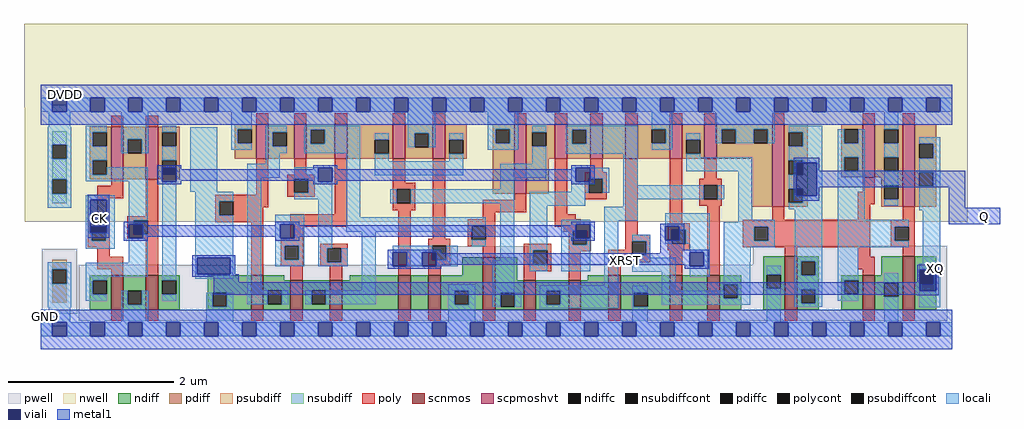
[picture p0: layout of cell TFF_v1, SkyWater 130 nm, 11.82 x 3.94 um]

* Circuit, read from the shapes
.subckt TFF_v1 Q CK XQ DVDD GND XRST
XM1 GND CK n1 GND sky130_fd_pr__nfet_01v8 w=0.42 l=0.15
XM2 n2 n1 GND GND sky130_fd_pr__nfet_01v8 w=0.42 l=0.15
XM3 n3 XQ GND GND sky130_fd_pr__nfet_01v8 w=0.42 l=0.15
XM4 n4 n1 n3 GND sky130_fd_pr__nfet_01v8 w=0.36 l=0.15
XM5 n5 n2 n4 GND sky130_fd_pr__nfet_01v8 w=0.36 l=0.15
XM6 n6 n7 n5 GND sky130_fd_pr__nfet_01v8 w=0.42 l=0.15
XM7 GND XRST n6 GND sky130_fd_pr__nfet_01v8 w=0.42 l=0.15
XM8 n7 n4 GND GND sky130_fd_pr__nfet_01v8 w=0.64 l=0.15
XM9 n8 n2 n7 GND sky130_fd_pr__nfet_01v8 w=0.36 l=0.15
XM10 n9 n1 n8 GND sky130_fd_pr__nfet_01v8 w=0.36 l=0.15
XM11 GND n10 n9 GND sky130_fd_pr__nfet_01v8 w=0.42 l=0.15
XM12 n11 XRST GND GND sky130_fd_pr__nfet_01v8 w=0.42 l=0.15
XM13 n10 n8 n11 GND sky130_fd_pr__nfet_01v8 w=0.42 l=0.15
XM14 Q n10 GND GND sky130_fd_pr__nfet_01v8 w=0.65 l=0.15
XM15 GND n10 n12 GND sky130_fd_pr__nfet_01v8 w=0.42 l=0.15
XM16 XQ n12 GND GND sky130_fd_pr__nfet_01v8 w=0.65 l=0.15
XM17 DVDD CK n1 DVDD sky130_fd_pr__pfet_01v8_hvt w=0.64 l=0.15
XM18 n2 n1 DVDD DVDD sky130_fd_pr__pfet_01v8_hvt w=0.64 l=0.15
XM19 n3 XQ DVDD DVDD sky130_fd_pr__pfet_01v8_hvt w=0.42 l=0.15
XM20 n4 n2 n3 DVDD sky130_fd_pr__pfet_01v8_hvt w=0.42 l=0.15
XM21 n13 n1 n4 DVDD sky130_fd_pr__pfet_01v8_hvt w=0.42 l=0.15
XM22 DVDD n7 n13 DVDD sky130_fd_pr__pfet_01v8_hvt w=0.42 l=0.15
XM23 n13 XRST DVDD DVDD sky130_fd_pr__pfet_01v8_hvt w=0.42 l=0.15
XM24 n7 n4 DVDD DVDD sky130_fd_pr__pfet_01v8_hvt w=0.84 l=0.15
XM25 n8 n1 n7 DVDD sky130_fd_pr__pfet_01v8_hvt w=0.42 l=0.15
XM26 n14 n2 n8 DVDD sky130_fd_pr__pfet_01v8_hvt w=0.42 l=0.15
XM27 DVDD n10 n14 DVDD sky130_fd_pr__pfet_01v8_hvt w=0.42 l=0.15
XM28 n10 XRST DVDD DVDD sky130_fd_pr__pfet_01v8_hvt w=0.42 l=0.15
XM29 DVDD n8 n10 DVDD sky130_fd_pr__pfet_01v8_hvt w=0.42 l=0.15
XM30 Q n10 DVDD DVDD sky130_fd_pr__pfet_01v8_hvt w=1 l=0.15
XM31 DVDD n10 n12 DVDD sky130_fd_pr__pfet_01v8_hvt w=0.64 l=0.15
XM32 XQ n12 DVDD DVDD sky130_fd_pr__pfet_01v8_hvt w=1 l=0.15
.ends

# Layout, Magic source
magic
tech sky130A
<< nwell >>
rect 0 622 1143 723
<< locali >>
rect 30 582 56 625
rect 30 357 56 400
<< viali >>
rect 935 515 960 555
rect 80 470 100 510
rect 210 420 250 440
rect 1085 400 1105 425
<< metal1 >>
rect 45 633 59 642
rect 932 555 963 561
rect 77 510 103 516
rect 77 470 80 510
rect 100 470 103 510
rect 932 515 935 555
rect 960 545 963 555
rect 960 525 1140 545
rect 960 515 963 525
rect 932 509 963 515
rect 1120 500 1140 525
rect 1120 480 1182 500
rect 77 464 103 470
rect 204 440 256 443
rect 204 420 210 440
rect 250 420 256 440
rect 725 433 732 439
rect 1082 425 1108 431
rect 204 417 260 420
rect 230 410 260 417
rect 1082 410 1085 425
rect 230 400 1085 410
rect 1105 400 1108 425
rect 230 395 1108 400
rect 1082 394 1108 395
rect 24 365 29 371
use sky130_fd_sc_hd__dfrbp_1  sky130_fd_sc_hd__dfrbp_1_0 $PDKPATH/libs.ref/sky130_fd_sc_hd/mag
transform 1 0 66 0 1 353
box -19 -24 1077 296
use sky130_fd_sc_hd__tap_1  x139 $PDKPATH/libs.ref/sky130_fd_sc_hd/mag
transform 1 0 20 0 1 353
box -19 -24 65 296
<< labels >>
flabel metal1 1163 490 1163 490 0 FreeSans 800 0 0 0 Q
port 0 nsew
flabel viali 91 487 91 487 0 FreeSans 800 0 0 0 CK
port 1 nsew
flabel metal1 1104 427 1104 427 0 FreeSans 400 0 0 0 XQ
port 6 nsew
flabel metal1 50 637 50 637 0 FreeSans 400 0 0 0 DVDD
port 7 nsew
flabel metal1 26 369 27 369 0 FreeSans 400 0 0 0 GND
port 8 nsew
flabel metal1 728 436 728 436 0 FreeSans 400 0 0 0 XRST
port 9 nsew
<< end >>

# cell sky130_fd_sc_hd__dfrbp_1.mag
magic
tech sky130A
magscale 1 2
<< nwell >>
rect -38 261 2154 582
<< pwell >>
rect 903 157 1089 201
rect 1633 157 2104 203
rect 1 21 2104 157
rect 29 -17 63 21
<< scnmos >>
rect 79 47 109 131
rect 163 47 193 131
rect 418 47 448 131
rect 513 47 543 119
rect 609 47 639 119
rect 775 47 805 131
rect 847 47 877 131
rect 979 47 1009 175
rect 1078 47 1108 119
rect 1187 47 1217 119
rect 1283 47 1313 131
rect 1432 47 1462 131
rect 1523 47 1553 131
rect 1711 47 1741 177
rect 1899 47 1929 131
rect 1996 47 2026 177
<< scpmoshvt >>
rect 79 363 109 491
rect 163 363 193 491
rect 430 413 460 497
rect 522 413 552 497
rect 621 413 651 497
rect 761 413 791 497
rect 858 413 888 497
rect 1055 329 1085 497
rect 1154 413 1184 497
rect 1240 413 1270 497
rect 1324 413 1354 497
rect 1432 413 1462 497
rect 1516 413 1546 497
rect 1680 297 1710 497
rect 1899 369 1929 497
rect 1996 297 2026 497
<< ndiff >>
rect 27 119 79 131
rect 27 85 35 119
rect 69 85 79 119
rect 27 47 79 85
rect 109 93 163 131
rect 109 59 119 93
rect 153 59 163 93
rect 109 47 163 59
rect 193 119 245 131
rect 193 85 203 119
rect 237 85 245 119
rect 193 47 245 85
rect 313 89 418 131
rect 313 55 325 89
rect 359 55 418 89
rect 313 47 418 55
rect 448 119 498 131
rect 929 131 979 175
rect 657 119 775 131
rect 448 95 513 119
rect 448 61 458 95
rect 492 61 513 95
rect 448 47 513 61
rect 543 95 609 119
rect 543 61 565 95
rect 599 61 609 95
rect 543 47 609 61
rect 639 47 775 119
rect 805 47 847 131
rect 877 93 979 131
rect 877 59 911 93
rect 945 59 979 93
rect 877 47 979 59
rect 1009 119 1063 175
rect 1659 132 1711 177
rect 1233 119 1283 131
rect 1009 89 1078 119
rect 1009 55 1023 89
rect 1057 55 1078 89
rect 1009 47 1078 55
rect 1108 93 1187 119
rect 1108 59 1133 93
rect 1167 59 1187 93
rect 1108 47 1187 59
rect 1217 47 1283 119
rect 1313 89 1432 131
rect 1313 55 1345 89
rect 1379 55 1432 89
rect 1313 47 1432 55
rect 1462 47 1523 131
rect 1553 109 1605 131
rect 1553 75 1563 109
rect 1597 75 1605 109
rect 1553 47 1605 75
rect 1659 98 1667 132
rect 1701 98 1711 132
rect 1659 47 1711 98
rect 1741 165 1793 177
rect 1741 131 1751 165
rect 1785 131 1793 165
rect 1944 131 1996 177
rect 1741 97 1793 131
rect 1741 63 1751 97
rect 1785 63 1793 97
rect 1741 47 1793 63
rect 1847 119 1899 131
rect 1847 85 1855 119
rect 1889 85 1899 119
rect 1847 47 1899 85
rect 1929 113 1996 131
rect 1929 79 1952 113
rect 1986 79 1996 113
rect 1929 47 1996 79
rect 2026 143 2078 177
rect 2026 109 2036 143
rect 2070 109 2078 143
rect 2026 47 2078 109
<< pdiff >>
rect 27 477 79 491
rect 27 443 35 477
rect 69 443 79 477
rect 27 409 79 443
rect 27 375 35 409
rect 69 375 79 409
rect 27 363 79 375
rect 109 461 163 491
rect 109 427 119 461
rect 153 427 163 461
rect 109 363 163 427
rect 193 477 245 491
rect 193 443 203 477
rect 237 443 245 477
rect 193 409 245 443
rect 378 485 430 497
rect 378 451 386 485
rect 420 451 430 485
rect 378 413 430 451
rect 460 477 522 497
rect 460 443 470 477
rect 504 443 522 477
rect 460 413 522 443
rect 552 483 621 497
rect 552 449 563 483
rect 597 449 621 483
rect 552 413 621 449
rect 651 459 761 497
rect 651 425 717 459
rect 751 425 761 459
rect 651 413 761 425
rect 791 475 858 497
rect 791 441 814 475
rect 848 441 858 475
rect 791 413 858 441
rect 888 459 940 497
rect 888 425 898 459
rect 932 425 940 459
rect 888 413 940 425
rect 1003 485 1055 497
rect 1003 451 1011 485
rect 1045 451 1055 485
rect 193 375 203 409
rect 237 375 245 409
rect 193 363 245 375
rect 1003 329 1055 451
rect 1085 477 1154 497
rect 1085 443 1099 477
rect 1133 443 1154 477
rect 1085 413 1154 443
rect 1184 484 1240 497
rect 1184 450 1196 484
rect 1230 450 1240 484
rect 1184 413 1240 450
rect 1270 413 1324 497
rect 1354 485 1432 497
rect 1354 451 1388 485
rect 1422 451 1432 485
rect 1354 413 1432 451
rect 1462 459 1516 497
rect 1462 425 1472 459
rect 1506 425 1516 459
rect 1462 413 1516 425
rect 1546 485 1680 497
rect 1546 451 1558 485
rect 1592 451 1636 485
rect 1670 451 1680 485
rect 1546 413 1680 451
rect 1085 329 1139 413
rect 1630 297 1680 413
rect 1710 477 1766 497
rect 1710 443 1720 477
rect 1754 443 1766 477
rect 1710 409 1766 443
rect 1710 375 1720 409
rect 1754 375 1766 409
rect 1710 341 1766 375
rect 1847 485 1899 497
rect 1847 451 1855 485
rect 1889 451 1899 485
rect 1847 417 1899 451
rect 1847 383 1855 417
rect 1889 383 1899 417
rect 1847 369 1899 383
rect 1929 485 1996 497
rect 1929 451 1952 485
rect 1986 451 1996 485
rect 1929 417 1996 451
rect 1929 383 1952 417
rect 1986 383 1996 417
rect 1929 369 1996 383
rect 1710 307 1720 341
rect 1754 307 1766 341
rect 1710 297 1766 307
rect 1944 349 1996 369
rect 1944 315 1952 349
rect 1986 315 1996 349
rect 1944 297 1996 315
rect 2026 449 2078 497
rect 2026 415 2036 449
rect 2070 415 2078 449
rect 2026 381 2078 415
rect 2026 347 2036 381
rect 2070 347 2078 381
rect 2026 297 2078 347
<< ndiffc >>
rect 35 85 69 119
rect 119 59 153 93
rect 203 85 237 119
rect 325 55 359 89
rect 458 61 492 95
rect 565 61 599 95
rect 911 59 945 93
rect 1023 55 1057 89
rect 1133 59 1167 93
rect 1345 55 1379 89
rect 1563 75 1597 109
rect 1667 98 1701 132
rect 1751 131 1785 165
rect 1751 63 1785 97
rect 1855 85 1889 119
rect 1952 79 1986 113
rect 2036 109 2070 143
<< pdiffc >>
rect 35 443 69 477
rect 35 375 69 409
rect 119 427 153 461
rect 203 443 237 477
rect 386 451 420 485
rect 470 443 504 477
rect 563 449 597 483
rect 717 425 751 459
rect 814 441 848 475
rect 898 425 932 459
rect 1011 451 1045 485
rect 203 375 237 409
rect 1099 443 1133 477
rect 1196 450 1230 484
rect 1388 451 1422 485
rect 1472 425 1506 459
rect 1558 451 1592 485
rect 1636 451 1670 485
rect 1720 443 1754 477
rect 1720 375 1754 409
rect 1855 451 1889 485
rect 1855 383 1889 417
rect 1952 451 1986 485
rect 1952 383 1986 417
rect 1720 307 1754 341
rect 1952 315 1986 349
rect 2036 415 2070 449
rect 2036 347 2070 381
<< poly >>
rect 79 491 109 517
rect 163 491 193 517
rect 430 497 460 523
rect 522 497 552 523
rect 621 497 651 523
rect 761 497 791 523
rect 858 497 888 523
rect 1055 497 1085 523
rect 1154 497 1184 523
rect 1240 497 1270 523
rect 1324 497 1354 523
rect 1432 497 1462 523
rect 1516 497 1546 523
rect 1680 497 1710 523
rect 1899 497 1929 523
rect 1996 497 2026 523
rect 79 348 109 363
rect 46 318 109 348
rect 46 265 76 318
rect 163 274 193 363
rect 430 326 460 413
rect 522 375 552 413
rect 22 249 76 265
rect 22 215 32 249
rect 66 215 76 249
rect 118 264 193 274
rect 118 230 134 264
rect 168 230 193 264
rect 331 310 460 326
rect 506 365 572 375
rect 506 331 522 365
rect 556 331 572 365
rect 506 321 572 331
rect 331 276 341 310
rect 375 296 460 310
rect 375 276 448 296
rect 621 279 651 413
rect 761 355 791 413
rect 761 339 816 355
rect 761 305 771 339
rect 805 305 816 339
rect 761 289 816 305
rect 331 260 448 276
rect 118 220 193 230
rect 22 199 76 215
rect 46 176 76 199
rect 46 146 109 176
rect 79 131 109 146
rect 163 131 193 220
rect 418 131 448 260
rect 513 249 651 279
rect 513 219 544 249
rect 490 203 544 219
rect 490 169 500 203
rect 534 169 544 203
rect 490 153 544 169
rect 586 197 652 207
rect 586 163 602 197
rect 636 163 652 197
rect 586 153 652 163
rect 513 119 543 153
rect 609 119 639 153
rect 775 131 805 289
rect 858 219 888 413
rect 1055 314 1085 329
rect 979 284 1085 314
rect 979 267 1009 284
rect 943 251 1009 267
rect 847 203 901 219
rect 847 169 857 203
rect 891 169 901 203
rect 943 217 953 251
rect 987 217 1009 251
rect 1154 279 1184 413
rect 1240 381 1270 413
rect 1226 365 1280 381
rect 1226 331 1236 365
rect 1270 331 1280 365
rect 1226 315 1280 331
rect 1154 267 1204 279
rect 1154 255 1217 267
rect 1154 249 1241 255
rect 1175 239 1241 249
rect 1175 237 1197 239
rect 943 201 1009 217
rect 979 175 1009 201
rect 1078 191 1145 207
rect 847 153 901 169
rect 847 131 877 153
rect 1078 157 1101 191
rect 1135 157 1145 191
rect 1078 141 1145 157
rect 1187 205 1197 237
rect 1231 205 1241 239
rect 1187 189 1241 205
rect 1324 229 1354 413
rect 1432 257 1462 413
rect 1516 365 1546 413
rect 1504 349 1558 365
rect 1504 315 1514 349
rect 1548 315 1558 349
rect 1504 299 1558 315
rect 1427 241 1481 257
rect 1324 213 1385 229
rect 1324 193 1341 213
rect 1078 119 1108 141
rect 1187 119 1217 189
rect 1283 179 1341 193
rect 1375 179 1385 213
rect 1427 207 1437 241
rect 1471 207 1481 241
rect 1427 191 1481 207
rect 1283 163 1385 179
rect 1283 131 1313 163
rect 1432 131 1462 191
rect 1523 131 1553 299
rect 1899 333 1929 369
rect 1888 303 1929 333
rect 1680 265 1710 297
rect 1888 265 1918 303
rect 1996 265 2026 297
rect 1609 249 1918 265
rect 1609 215 1637 249
rect 1671 215 1918 249
rect 1609 199 1918 215
rect 1967 249 2026 265
rect 1967 215 1977 249
rect 2011 215 2026 249
rect 1967 199 2026 215
rect 1711 177 1741 199
rect 1888 176 1918 199
rect 1996 177 2026 199
rect 1888 146 1929 176
rect 1899 131 1929 146
rect 79 21 109 47
rect 163 21 193 47
rect 418 21 448 47
rect 513 21 543 47
rect 609 21 639 47
rect 775 21 805 47
rect 847 21 877 47
rect 979 21 1009 47
rect 1078 21 1108 47
rect 1187 21 1217 47
rect 1283 21 1313 47
rect 1432 21 1462 47
rect 1523 21 1553 47
rect 1711 21 1741 47
rect 1899 21 1929 47
rect 1996 21 2026 47
<< polycont >>
rect 32 215 66 249
rect 134 230 168 264
rect 522 331 556 365
rect 341 276 375 310
rect 771 305 805 339
rect 500 169 534 203
rect 602 163 636 197
rect 857 169 891 203
rect 953 217 987 251
rect 1236 331 1270 365
rect 1101 157 1135 191
rect 1197 205 1231 239
rect 1514 315 1548 349
rect 1341 179 1375 213
rect 1437 207 1471 241
rect 1637 215 1671 249
rect 1977 215 2011 249
<< locali >>
rect 0 527 29 561
rect 63 527 121 561
rect 155 527 213 561
rect 247 527 305 561
rect 339 527 397 561
rect 431 527 489 561
rect 523 527 581 561
rect 615 527 673 561
rect 707 527 765 561
rect 799 527 857 561
rect 891 527 949 561
rect 983 527 1041 561
rect 1075 527 1133 561
rect 1167 527 1225 561
rect 1259 527 1317 561
rect 1351 527 1409 561
rect 1443 527 1501 561
rect 1535 527 1593 561
rect 1627 527 1685 561
rect 1719 527 1777 561
rect 1811 527 1869 561
rect 1903 527 1961 561
rect 1995 527 2053 561
rect 2087 527 2116 561
rect 18 477 69 493
rect 18 443 35 477
rect 18 409 69 443
rect 103 461 169 527
rect 103 427 119 461
rect 153 427 169 461
rect 203 477 237 493
rect 18 375 35 409
rect 203 409 237 443
rect 69 375 168 393
rect 18 359 168 375
rect 18 249 88 325
rect 18 215 32 249
rect 66 215 88 249
rect 18 195 88 215
rect 122 264 168 359
rect 122 255 134 264
rect 156 221 168 230
rect 122 161 168 221
rect 18 127 168 161
rect 18 119 69 127
rect 18 85 35 119
rect 203 119 237 357
rect 271 333 336 490
rect 370 485 420 527
rect 370 451 386 485
rect 370 435 420 451
rect 454 477 504 493
rect 454 443 470 477
rect 454 427 504 443
rect 547 483 683 493
rect 547 449 563 483
rect 597 449 683 483
rect 798 475 864 527
rect 991 485 1065 527
rect 547 427 683 449
rect 454 401 488 427
rect 409 367 488 401
rect 522 391 615 393
rect 283 310 375 333
rect 283 276 341 310
rect 283 123 375 276
rect 18 69 69 85
rect 103 59 119 93
rect 153 59 169 93
rect 409 95 443 367
rect 522 365 581 391
rect 556 357 581 365
rect 556 331 615 357
rect 522 315 615 331
rect 477 255 547 277
rect 477 221 489 255
rect 523 221 547 255
rect 477 203 547 221
rect 477 169 500 203
rect 534 169 547 203
rect 477 153 547 169
rect 581 197 615 315
rect 649 271 683 427
rect 717 459 751 475
rect 798 441 814 475
rect 848 441 864 475
rect 898 459 932 475
rect 717 407 751 425
rect 991 451 1011 485
rect 1045 451 1065 485
rect 991 435 1065 451
rect 1099 477 1133 493
rect 898 407 932 425
rect 717 373 932 407
rect 1099 401 1133 443
rect 1180 484 1354 493
rect 1180 450 1196 484
rect 1230 450 1354 484
rect 1180 425 1354 450
rect 1388 485 1438 527
rect 1422 451 1438 485
rect 1542 485 1686 527
rect 1388 435 1438 451
rect 1472 459 1506 475
rect 1021 367 1133 401
rect 1021 339 1055 367
rect 755 305 771 339
rect 805 305 1055 339
rect 1194 357 1205 391
rect 1239 365 1286 391
rect 1194 333 1236 357
rect 649 251 987 271
rect 649 237 953 251
rect 581 163 602 197
rect 636 163 652 197
rect 581 153 652 163
rect 686 95 720 237
rect 761 187 857 203
rect 795 153 833 187
rect 891 169 919 203
rect 953 201 987 217
rect 867 153 919 169
rect 1021 167 1055 305
rect 203 69 237 85
rect 103 17 169 59
rect 309 55 325 89
rect 359 55 375 89
rect 409 61 458 95
rect 492 61 508 95
rect 549 61 565 95
rect 599 61 720 95
rect 895 93 961 109
rect 309 17 375 55
rect 895 59 911 93
rect 945 59 961 93
rect 895 17 961 59
rect 1003 89 1055 167
rect 1093 331 1236 333
rect 1270 331 1286 365
rect 1320 349 1354 425
rect 1542 451 1558 485
rect 1592 451 1636 485
rect 1670 451 1686 485
rect 1720 477 1801 493
rect 1952 485 1986 527
rect 1472 417 1506 425
rect 1754 443 1801 477
rect 1472 383 1632 417
rect 1093 299 1228 331
rect 1320 315 1514 349
rect 1548 315 1564 349
rect 1093 191 1135 299
rect 1320 297 1354 315
rect 1093 157 1101 191
rect 1093 141 1135 157
rect 1169 255 1239 265
rect 1169 239 1205 255
rect 1169 205 1197 239
rect 1231 205 1239 221
rect 1169 141 1239 205
rect 1273 263 1354 297
rect 1273 107 1307 263
rect 1421 250 1529 281
rect 1598 265 1632 383
rect 1720 409 1801 443
rect 1754 375 1801 409
rect 1720 341 1801 375
rect 1754 307 1801 341
rect 1720 291 1801 307
rect 1598 259 1687 265
rect 1455 241 1529 250
rect 1341 213 1385 229
rect 1375 179 1385 213
rect 1421 207 1437 216
rect 1471 207 1529 241
rect 1341 173 1385 179
rect 1481 187 1529 207
rect 1341 139 1447 173
rect 1117 93 1307 107
rect 1003 55 1023 89
rect 1057 55 1073 89
rect 1117 59 1133 93
rect 1167 59 1307 93
rect 1117 51 1307 59
rect 1341 89 1379 105
rect 1341 55 1345 89
rect 1413 93 1447 139
rect 1515 153 1529 187
rect 1481 127 1529 153
rect 1563 249 1687 259
rect 1563 215 1637 249
rect 1671 215 1687 249
rect 1563 199 1687 215
rect 1563 164 1628 199
rect 1735 165 1801 291
rect 1563 109 1627 164
rect 1413 75 1563 93
rect 1597 75 1627 109
rect 1413 59 1627 75
rect 1667 132 1701 154
rect 1341 17 1379 55
rect 1667 17 1701 98
rect 1735 131 1751 165
rect 1785 131 1801 165
rect 1735 97 1801 131
rect 1735 63 1751 97
rect 1785 63 1801 97
rect 1839 451 1855 485
rect 1889 451 1905 485
rect 1839 417 1905 451
rect 1839 383 1855 417
rect 1889 383 1905 417
rect 1839 265 1905 383
rect 1952 417 1986 451
rect 1952 349 1986 383
rect 1952 299 1986 315
rect 2036 449 2087 465
rect 2070 415 2087 449
rect 2036 381 2087 415
rect 2070 347 2087 381
rect 2036 289 2087 347
rect 1839 249 2011 265
rect 1839 215 1977 249
rect 1839 199 2011 215
rect 1839 119 1889 199
rect 2045 159 2087 289
rect 2036 143 2087 159
rect 1839 85 1855 119
rect 1839 69 1889 85
rect 1952 113 1986 136
rect 1735 55 1801 63
rect 1952 17 1986 79
rect 2070 109 2087 143
rect 2036 53 2087 109
rect 0 -17 29 17
rect 63 -17 121 17
rect 155 -17 213 17
rect 247 -17 305 17
rect 339 -17 397 17
rect 431 -17 489 17
rect 523 -17 581 17
rect 615 -17 673 17
rect 707 -17 765 17
rect 799 -17 857 17
rect 891 -17 949 17
rect 983 -17 1041 17
rect 1075 -17 1133 17
rect 1167 -17 1225 17
rect 1259 -17 1317 17
rect 1351 -17 1409 17
rect 1443 -17 1501 17
rect 1535 -17 1593 17
rect 1627 -17 1685 17
rect 1719 -17 1777 17
rect 1811 -17 1869 17
rect 1903 -17 1961 17
rect 1995 -17 2053 17
rect 2087 -17 2116 17
<< viali >>
rect 29 527 63 561
rect 121 527 155 561
rect 213 527 247 561
rect 305 527 339 561
rect 397 527 431 561
rect 489 527 523 561
rect 581 527 615 561
rect 673 527 707 561
rect 765 527 799 561
rect 857 527 891 561
rect 949 527 983 561
rect 1041 527 1075 561
rect 1133 527 1167 561
rect 1225 527 1259 561
rect 1317 527 1351 561
rect 1409 527 1443 561
rect 1501 527 1535 561
rect 1593 527 1627 561
rect 1685 527 1719 561
rect 1777 527 1811 561
rect 1869 527 1903 561
rect 1961 527 1995 561
rect 2053 527 2087 561
rect 122 230 134 255
rect 134 230 156 255
rect 122 221 156 230
rect 203 375 237 391
rect 203 357 237 375
rect 581 357 615 391
rect 489 221 523 255
rect 1205 365 1239 391
rect 1205 357 1236 365
rect 1236 357 1239 365
rect 761 153 795 187
rect 833 169 857 187
rect 857 169 867 187
rect 833 153 867 169
rect 1205 239 1239 255
rect 1205 221 1231 239
rect 1231 221 1239 239
rect 1421 241 1455 250
rect 1421 216 1437 241
rect 1437 216 1455 241
rect 1481 153 1515 187
rect 29 -17 63 17
rect 121 -17 155 17
rect 213 -17 247 17
rect 305 -17 339 17
rect 397 -17 431 17
rect 489 -17 523 17
rect 581 -17 615 17
rect 673 -17 707 17
rect 765 -17 799 17
rect 857 -17 891 17
rect 949 -17 983 17
rect 1041 -17 1075 17
rect 1133 -17 1167 17
rect 1225 -17 1259 17
rect 1317 -17 1351 17
rect 1409 -17 1443 17
rect 1501 -17 1535 17
rect 1593 -17 1627 17
rect 1685 -17 1719 17
rect 1777 -17 1811 17
rect 1869 -17 1903 17
rect 1961 -17 1995 17
rect 2053 -17 2087 17
<< metal1 >>
rect 0 561 2116 592
rect 0 527 29 561
rect 63 527 121 561
rect 155 527 213 561
rect 247 527 305 561
rect 339 527 397 561
rect 431 527 489 561
rect 523 527 581 561
rect 615 527 673 561
rect 707 527 765 561
rect 799 527 857 561
rect 891 527 949 561
rect 983 527 1041 561
rect 1075 527 1133 561
rect 1167 527 1225 561
rect 1259 527 1317 561
rect 1351 527 1409 561
rect 1443 527 1501 561
rect 1535 527 1593 561
rect 1627 527 1685 561
rect 1719 527 1777 561
rect 1811 527 1869 561
rect 1903 527 1961 561
rect 1995 527 2053 561
rect 2087 527 2116 561
rect 0 496 2116 527
rect 191 391 249 397
rect 191 357 203 391
rect 237 388 249 391
rect 569 391 627 397
rect 569 388 581 391
rect 237 360 581 388
rect 237 357 249 360
rect 191 351 249 357
rect 569 357 581 360
rect 615 388 627 391
rect 1193 391 1251 397
rect 1193 388 1205 391
rect 615 360 1205 388
rect 615 357 627 360
rect 569 351 627 357
rect 1193 357 1205 360
rect 1239 357 1251 391
rect 1193 351 1251 357
rect 110 255 168 261
rect 110 221 122 255
rect 156 252 168 255
rect 477 255 535 261
rect 477 252 489 255
rect 156 224 489 252
rect 156 221 168 224
rect 110 215 168 221
rect 477 221 489 224
rect 523 252 535 255
rect 1193 255 1251 261
rect 1193 252 1205 255
rect 523 224 1205 252
rect 523 221 535 224
rect 477 215 535 221
rect 1193 221 1205 224
rect 1239 221 1251 255
rect 1193 215 1251 221
rect 1409 250 1467 256
rect 1409 216 1421 250
rect 1455 216 1467 250
rect 1409 193 1467 216
rect 749 187 879 193
rect 749 153 761 187
rect 795 153 833 187
rect 867 184 879 187
rect 1409 187 1527 193
rect 1409 184 1481 187
rect 867 156 1481 184
rect 867 153 879 156
rect 749 147 879 153
rect 1469 153 1481 156
rect 1515 153 1527 187
rect 1469 147 1527 153
rect 0 17 2116 48
rect 0 -17 29 17
rect 63 -17 121 17
rect 155 -17 213 17
rect 247 -17 305 17
rect 339 -17 397 17
rect 431 -17 489 17
rect 523 -17 581 17
rect 615 -17 673 17
rect 707 -17 765 17
rect 799 -17 857 17
rect 891 -17 949 17
rect 983 -17 1041 17
rect 1075 -17 1133 17
rect 1167 -17 1225 17
rect 1259 -17 1317 17
rect 1351 -17 1409 17
rect 1443 -17 1501 17
rect 1535 -17 1593 17
rect 1627 -17 1685 17
rect 1719 -17 1777 17
rect 1811 -17 1869 17
rect 1903 -17 1961 17
rect 1995 -17 2053 17
rect 2087 -17 2116 17
rect 0 -48 2116 -17
<< labels >>
flabel locali s 1754 218 1783 253 0 FreeSans 200 0 0 0 Q
port 8 nsew signal output
flabel locali s 2056 221 2078 254 0 FreeSans 200 0 0 0 Q_N
port 9 nsew signal output
flabel locali s 1481 153 1515 187 0 FreeSans 400 0 0 0 RESET_B
port 3 nsew signal input
flabel locali s 305 289 339 323 0 FreeSans 400 0 0 0 D
port 2 nsew signal input
flabel locali s 30 289 64 323 0 FreeSans 400 0 0 0 CLK
port 1 nsew clock input
flabel locali s 30 221 64 255 0 FreeSans 400 0 0 0 CLK
port 1 nsew clock input
flabel locali s 1481 221 1515 255 0 FreeSans 400 0 0 0 RESET_B
port 3 nsew signal input
flabel metal1 s 29 -17 63 17 0 FreeSans 200 0 0 0 VGND
port 4 nsew ground bidirectional abutment
flabel metal1 s 29 527 63 561 0 FreeSans 200 0 0 0 VPWR
port 7 nsew power bidirectional abutment
flabel nwell s 29 527 63 561 0 FreeSans 200 0 0 0 VPB
port 6 nsew power bidirectional
flabel pwell s 29 -17 63 17 0 FreeSans 200 0 0 0 VNB
port 5 nsew ground bidirectional
rlabel comment s 0 0 0 0 4 dfrbp_1
rlabel locali s 1481 127 1529 207 1 RESET_B
port 3 nsew signal input
rlabel locali s 1421 207 1529 281 1 RESET_B
port 3 nsew signal input
rlabel metal1 s 1469 147 1527 156 1 RESET_B
port 3 nsew signal input
rlabel metal1 s 1409 193 1467 256 1 RESET_B
port 3 nsew signal input
rlabel metal1 s 1409 184 1527 193 1 RESET_B
port 3 nsew signal input
rlabel metal1 s 749 184 879 193 1 RESET_B
port 3 nsew signal input
rlabel metal1 s 749 156 1527 184 1 RESET_B
port 3 nsew signal input
rlabel metal1 s 749 147 879 156 1 RESET_B
port 3 nsew signal input
rlabel metal1 s 0 -48 2116 48 1 VGND
port 4 nsew ground bidirectional abutment
rlabel metal1 s 0 496 2116 592 1 VPWR
port 7 nsew power bidirectional abutment
<< properties >>
string FIXED_BBOX 0 0 2116 544
string GDS_END 3418888
string GDS_FILE $PDKPATH/libs.ref/sky130_fd_sc_hd/gds/sky130_fd_sc_hd.gds
string GDS_START 3401334
string LEFclass CORE
string LEFsite unithd
string LEFsymmetry X Y R90
string path 48.300 0.000 50.600 0.000 
<< end >>

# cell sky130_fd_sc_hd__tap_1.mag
magic
tech sky130A
magscale 1 2
<< nwell >>
rect -38 261 130 582
<< pwell >>
rect 3 38 89 195
<< psubdiff >>
rect 29 145 63 169
rect 29 64 63 111
<< nsubdiff >>
rect 29 447 63 480
rect 29 363 63 413
rect 29 305 63 329
<< psubdiffcont >>
rect 29 111 63 145
<< nsubdiffcont >>
rect 29 413 63 447
rect 29 329 63 363
<< locali >>
rect 0 527 29 561
rect 63 527 92 561
rect 17 447 75 491
rect 17 413 29 447
rect 63 413 75 447
rect 17 363 75 413
rect 17 329 29 363
rect 63 329 75 363
rect 17 294 75 329
rect 17 145 75 162
rect 17 111 29 145
rect 63 111 75 145
rect 17 53 75 111
rect 0 -17 29 17
rect 63 -17 92 17
<< viali >>
rect 29 527 63 561
rect 29 -17 63 17
<< metal1 >>
rect 0 561 92 592
rect 0 527 29 561
rect 63 527 92 561
rect 0 496 92 527
rect 0 17 92 48
rect 0 -17 29 17
rect 63 -17 92 17
rect 0 -48 92 -17
<< labels >>
flabel metal1 s 28 -10 68 14 0 FreeSans 200 0 0 0 VGND
port 1 nsew ground bidirectional abutment
flabel metal1 s 26 535 69 555 0 FreeSans 200 0 0 0 VPWR
port 4 nsew power bidirectional abutment
flabel locali s 38 94 54 113 0 FreeSans 250 0 0 0 VNB
port 2 nsew ground bidirectional
flabel locali s 29 362 57 386 0 FreeSans 250 0 0 0 VPB
port 3 nsew power bidirectional
rlabel comment s 0 0 0 0 4 tap_1
rlabel metal1 s 0 -48 92 48 1 VGND
port 1 nsew ground bidirectional abutment
rlabel metal1 s 0 496 92 592 1 VPWR
port 4 nsew power bidirectional abutment
<< properties >>
string FIXED_BBOX 0 0 92 544
string GDS_END 559278
string GDS_FILE $PDKPATH/libs.ref/sky130_fd_sc_hd/gds/sky130_fd_sc_hd.gds
string GDS_START 557474
string LEFclass CORE WELLTAP
string LEFsite unithd
string LEFsymmetry X Y R90
string path 0.000 2.720 0.460 2.720 
<< end >>
